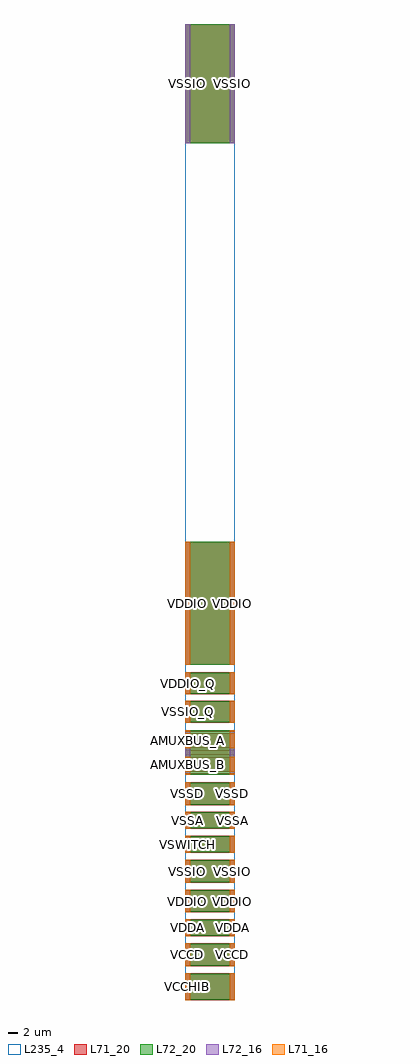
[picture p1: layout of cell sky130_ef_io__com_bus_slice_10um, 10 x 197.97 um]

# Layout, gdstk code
import gdstk
lib = gdstk.Library(unit=1e-6, precision=1e-09)
def R(c, l, rs):  # rectangles x0, y0, x1, y1
    for r in rs: c.add(gdstk.rectangle(r[:2], r[2:], *l))
L71_16 = (71, 16)
L71_20 = (71, 20)
L72_16 = (72, 16)
L72_20 = (72, 20)
L235_4 = (235, 4)

sky130_ef_io__com_bus_sl = lib.new_cell('sky130_ef_io__com_bus_slice_10um')
R(sky130_ef_io__com_bus_sl, L71_16, [(0,0,1,5.45), (9,0,10,5.45), (0,6.85,1,11.5), (9,6.85,10,11.5), (0,12.9,1,16.35), (9,12.9,10,16.35), (0,17.75,1,22.4), (9,17.75,10,22.4), (0,23.8,1,28.45), (9,23.8,10,28.45), (0,29.85,1,33.3), (9,29.85,10,33.3), (0,34.7,1,38.15), (9,34.7,10,38.15), (0,39.55,1,44.2), (9,39.55,10,44.2), (0,45.7,1,46.03), (9,45.7,10,46.03), (0,46.33,1,49.31), (9,46.33,10,49.31), (0,51.09,1,54.07), (9,51.09,10,54.07), (0,54.37,1,54.7), (9,54.37,10,54.7), (0,56.2,1,60.65), (9,56.2,10,60.65), (0,62.05,1,66.5), (9,62.05,10,66.5), (0,68,1,92.965), (9,68,10,92.965)])
R(sky130_ef_io__com_bus_sl, L71_20, [(0,0,10,5.45), (0,6.85,10,11.5), (0,12.9,10,16.35), (0,17.75,10,22.4), (0,23.8,10,28.45), (0,29.85,10,33.3), (0,34.7,10,38.15), (0,39.55,10,44.2), (0,45.7,10,46.03), (0,46.33,10,49.31), (0,49.61,10,50.79), (0,51.09,10,54.07), (0,54.37,10,54.7), (0,56.2,10,60.65), (0,62.05,10,66.5), (0,68,10,92.965), (0,173.75,10,197.965)])
R(sky130_ef_io__com_bus_sl, L72_16, [(0,0.1,1,5.35), (9,0.1,10,5.35), (0,6.95,1,11.4), (9,6.95,10,11.4), (0,13,1,16.25), (9,13,10,16.25), (0,17.85,1,22.3), (9,17.85,10,22.3), (0,23.9,1,28.35), (9,23.9,10,28.35), (0,29.95,1,33.2), (9,29.95,10,33.2), (0,34.8,1,38.05), (9,34.8,10,38.05), (0,39.65,1,44.1), (9,39.65,10,44.1), (0,45.7,1,54.7), (9,45.7,10,54.7), (0,56.3,1,60.55), (9,56.3,10,60.55), (0,62.15,1,66.4), (9,62.15,10,66.4), (0,68,1,92.95), (9,68,10,92.95), (0,173.75,1,197.965), (9,173.75,10,197.965)])
R(sky130_ef_io__com_bus_sl, L72_20, [(0,0.1,10,5.35), (0,6.95,10,11.4), (0,13,10,16.25), (0,17.85,10,22.3), (0,23.9,10,28.35), (0,29.95,10,33.2), (0,34.8,10,38.05), (0,39.65,10,44.1), (0,45.7,10,54.7), (0,56.3,10,60.55), (0,62.15,10,66.4), (0,68,10,92.95), (0,173.75,10,197.965)])
R(sky130_ef_io__com_bus_sl, L235_4, [(0,0,10,197.965)])
sky130_ef_io__com_bus_sl.add(gdstk.Label('AMUXBUS_A', (0.5,52.58), layer=71, texttype=16))
sky130_ef_io__com_bus_sl.add(gdstk.Label('AMUXBUS_A', (9.5,52.58), layer=71, texttype=16))
sky130_ef_io__com_bus_sl.add(gdstk.Label('AMUXBUS_B', (0.5,47.82), layer=71, texttype=16))
sky130_ef_io__com_bus_sl.add(gdstk.Label('AMUXBUS_B', (9.5,47.82), layer=71, texttype=16))
sky130_ef_io__com_bus_sl.add(gdstk.Label('VSSA', (0.5,50.2), layer=72, texttype=16))
sky130_ef_io__com_bus_sl.add(gdstk.Label('VSSA', (0.5,54.535), layer=71, texttype=16))
sky130_ef_io__com_bus_sl.add(gdstk.Label('VSSA', (0.5,45.865), layer=71, texttype=16))
sky130_ef_io__com_bus_sl.add(gdstk.Label('VSSA', (0.5,36.425), layer=72, texttype=16))
sky130_ef_io__com_bus_sl.add(gdstk.Label('VSSA', (0.5,36.425), layer=71, texttype=16))
sky130_ef_io__com_bus_sl.add(gdstk.Label('VSSA', (9.5,50.2), layer=72, texttype=16))
sky130_ef_io__com_bus_sl.add(gdstk.Label('VSSA', (9.5,54.535), layer=71, texttype=16))
sky130_ef_io__com_bus_sl.add(gdstk.Label('VSSA', (9.5,45.865), layer=71, texttype=16))
sky130_ef_io__com_bus_sl.add(gdstk.Label('VSSA', (9.5,36.425), layer=72, texttype=16))
sky130_ef_io__com_bus_sl.add(gdstk.Label('VSSA', (9.5,36.425), layer=71, texttype=16))
sky130_ef_io__com_bus_sl.add(gdstk.Label('VDDA', (0.5,14.625), layer=72, texttype=16))
sky130_ef_io__com_bus_sl.add(gdstk.Label('VDDA', (0.5,14.625), layer=71, texttype=16))
sky130_ef_io__com_bus_sl.add(gdstk.Label('VDDA', (9.5,14.625), layer=72, texttype=16))
sky130_ef_io__com_bus_sl.add(gdstk.Label('VDDA', (9.5,14.625), layer=71, texttype=16))
sky130_ef_io__com_bus_sl.add(gdstk.Label('VSWITCH', (0.5,31.575), layer=72, texttype=16))
sky130_ef_io__com_bus_sl.add(gdstk.Label('VSWITCH', (0.5,31.575), layer=71, texttype=16))
sky130_ef_io__com_bus_sl.add(gdstk.Label('VSWITCH', (9.5,31.575), layer=72, texttype=16))
sky130_ef_io__com_bus_sl.add(gdstk.Label('VSWITCH', (9.5,31.575), layer=71, texttype=16))
sky130_ef_io__com_bus_sl.add(gdstk.Label('VDDIO_Q', (0.5,64.275), layer=72, texttype=16))
sky130_ef_io__com_bus_sl.add(gdstk.Label('VDDIO_Q', (0.5,64.275), layer=71, texttype=16))
sky130_ef_io__com_bus_sl.add(gdstk.Label('VDDIO_Q', (9.5,64.275), layer=72, texttype=16))
sky130_ef_io__com_bus_sl.add(gdstk.Label('VDDIO_Q', (9.5,64.275), layer=71, texttype=16))
sky130_ef_io__com_bus_sl.add(gdstk.Label('VCCHIB', (0.5,2.725), layer=72, texttype=16))
sky130_ef_io__com_bus_sl.add(gdstk.Label('VCCHIB', (0.5,2.725), layer=71, texttype=16))
sky130_ef_io__com_bus_sl.add(gdstk.Label('VCCHIB', (9.5,2.725), layer=72, texttype=16))
sky130_ef_io__com_bus_sl.add(gdstk.Label('VCCHIB', (9.5,2.725), layer=71, texttype=16))
sky130_ef_io__com_bus_sl.add(gdstk.Label('VDDIO', (0.5,80.475), layer=72, texttype=16))
sky130_ef_io__com_bus_sl.add(gdstk.Label('VDDIO', (0.5,80.482), layer=71, texttype=16))
sky130_ef_io__com_bus_sl.add(gdstk.Label('VDDIO', (0.5,20.075), layer=72, texttype=16))
sky130_ef_io__com_bus_sl.add(gdstk.Label('VDDIO', (0.5,20.075), layer=71, texttype=16))
sky130_ef_io__com_bus_sl.add(gdstk.Label('VDDIO', (9.5,80.475), layer=72, texttype=16))
sky130_ef_io__com_bus_sl.add(gdstk.Label('VDDIO', (9.5,80.482), layer=71, texttype=16))
sky130_ef_io__com_bus_sl.add(gdstk.Label('VDDIO', (9.5,20.075), layer=72, texttype=16))
sky130_ef_io__com_bus_sl.add(gdstk.Label('VDDIO', (9.5,20.075), layer=71, texttype=16))
sky130_ef_io__com_bus_sl.add(gdstk.Label('VCCD', (0.5,9.175), layer=72, texttype=16))
sky130_ef_io__com_bus_sl.add(gdstk.Label('VCCD', (0.5,9.175), layer=71, texttype=16))
sky130_ef_io__com_bus_sl.add(gdstk.Label('VCCD', (9.5,9.175), layer=72, texttype=16))
sky130_ef_io__com_bus_sl.add(gdstk.Label('VCCD', (9.5,9.175), layer=71, texttype=16))
sky130_ef_io__com_bus_sl.add(gdstk.Label('VSSIO', (0.5,26.125), layer=72, texttype=16))
sky130_ef_io__com_bus_sl.add(gdstk.Label('VSSIO', (0.5,26.125), layer=71, texttype=16))
sky130_ef_io__com_bus_sl.add(gdstk.Label('VSSIO', (0.5,185.857), layer=72, texttype=16))
sky130_ef_io__com_bus_sl.add(gdstk.Label('VSSIO', (9.5,26.125), layer=72, texttype=16))
sky130_ef_io__com_bus_sl.add(gdstk.Label('VSSIO', (9.5,26.125), layer=71, texttype=16))
sky130_ef_io__com_bus_sl.add(gdstk.Label('VSSIO', (9.5,185.857), layer=72, texttype=16))
sky130_ef_io__com_bus_sl.add(gdstk.Label('VSSD', (0.5,41.875), layer=72, texttype=16))
sky130_ef_io__com_bus_sl.add(gdstk.Label('VSSD', (0.5,41.875), layer=71, texttype=16))
sky130_ef_io__com_bus_sl.add(gdstk.Label('VSSD', (9.5,41.875), layer=72, texttype=16))
sky130_ef_io__com_bus_sl.add(gdstk.Label('VSSD', (9.5,41.875), layer=71, texttype=16))
sky130_ef_io__com_bus_sl.add(gdstk.Label('VSSIO_Q', (0.5,58.425), layer=72, texttype=16))
sky130_ef_io__com_bus_sl.add(gdstk.Label('VSSIO_Q', (0.5,58.425), layer=71, texttype=16))
sky130_ef_io__com_bus_sl.add(gdstk.Label('VSSIO_Q', (9.5,58.425), layer=72, texttype=16))
sky130_ef_io__com_bus_sl.add(gdstk.Label('VSSIO_Q', (9.5,58.425), layer=71, texttype=16))

lib.write_gds('sky130_ef_io__com_bus_slice_10um.gds')
